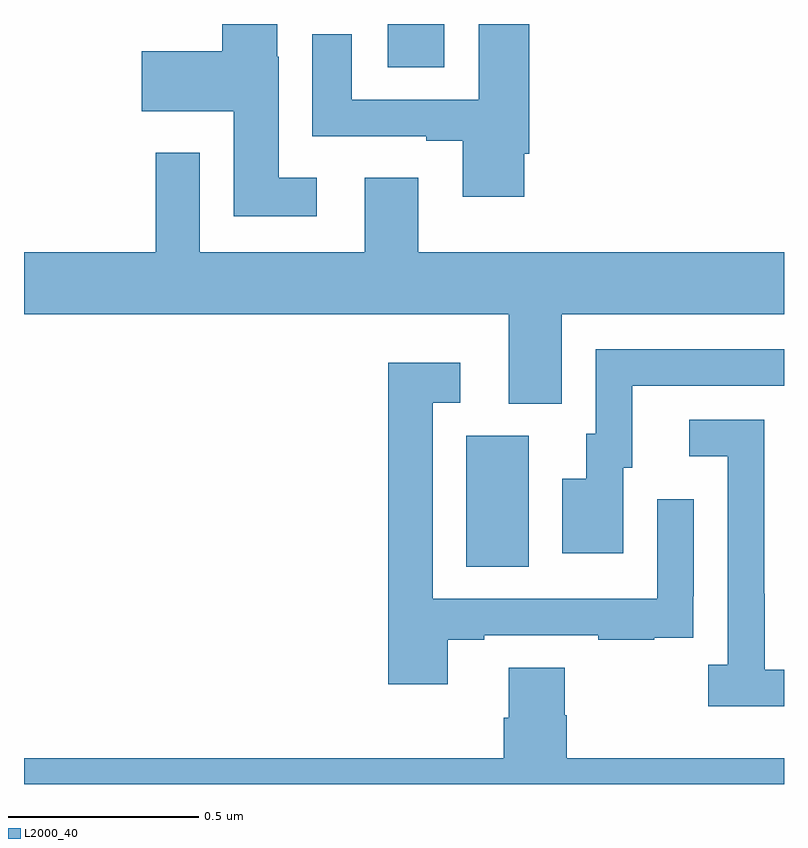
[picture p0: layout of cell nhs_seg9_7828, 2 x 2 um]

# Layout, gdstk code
import gdstk
lib = gdstk.Library(unit=1e-6, precision=1e-09)
def R(c, l, rs):  # rectangles x0, y0, x1, y1
    for r in rs: c.add(gdstk.rectangle(r[:2], r[2:], *l))
def P(c, l, *ps):  # polygons
    for p in ps: c.add(gdstk.Polygon(p, *l))
L2000_40 = (2000, 40)

nhs_seg9_7828 = lib.new_cell('nhs_seg9_7828')
R(nhs_seg9_7828, L2000_40, [(210.164,1213.072,210.328,1213.416), (209.957,1214.386,210.106,1214.5)])
P(nhs_seg9_7828, L2000_40, [(209.77,1214.095),(209.671,1214.095),(209.671,1214.414),(209.667,1214.414),(209.667,1214.5),(209.522,1214.5),(209.522,1214.428),(209.31,1214.428),(209.31,1214.27),(209.552,1214.27),(209.552,1213.994),(209.77,1213.994)],
  [(210.316,1214.158),(210.329,1214.158),(210.329,1214.5),(210.197,1214.5),(210.197,1214.301),(209.863,1214.301),(209.863,1214.473),(209.759,1214.473),(209.759,1214.205),(210.059,1214.205),(210.059,1214.193),(210.155,1214.193),(210.155,1214.046),(210.316,1214.046)],
  [(210.415,1213.736),(211,1213.736),(211,1213.9),(210.037,1213.9),(210.037,1214.095),(209.897,1214.095),(209.897,1213.9),(209.463,1213.9),(209.463,1214.161),(209.347,1214.161),(209.347,1213.9),(209,1213.9),(209,1213.736),(210.275,1213.736),(210.275,1213.501),(210.415,1213.501)],
  [(210.577,1213.332),(210.601,1213.332),(210.601,1213.548),(211,1213.548),(211,1213.644),(210.504,1213.644),(210.504,1213.422),(210.479,1213.422),(210.479,1213.303),(210.416,1213.303),(210.416,1213.107),(210.577,1213.107)],
  [(210.115,1212.879),(210.211,1212.879),(210.211,1212.891),(210.511,1212.891),(210.511,1212.879),(210.659,1212.879),(210.659,1212.885),(210.761,1212.885),(210.761,1212.994),(210.762,1212.994),(210.762,1213.249),(210.666,1213.249),(210.666,1212.987),(210.075,1212.987),(210.075,1213.503),(210.148,1213.503),(210.148,1213.609),(209.959,1213.609),(209.959,1212.762),(210.115,1212.762)],
  [(211,1212.801),(210.949,1212.801),(210.949,1213.001),(210.948,1213.001),(210.948,1213.458),(210.75,1213.458),(210.75,1213.362),(210.852,1213.362),(210.852,1212.814),(210.801,1212.814),(210.801,1212.704),(211,1212.704)],
  [(211,1212.568),(210.428,1212.568),(210.428,1212.681),(210.423,1212.681),(210.423,1212.806),(210.275,1212.806),(210.275,1212.674),(210.263,1212.674),(210.263,1212.568),(209,1212.568),(209,1212.5),(211,1212.5)])

lib.write_gds('nhs_seg9_7828.gds')
